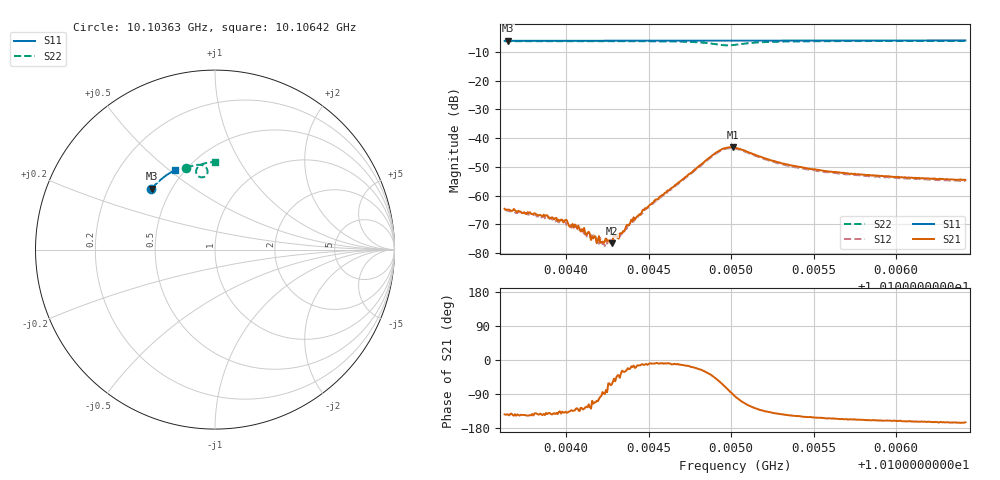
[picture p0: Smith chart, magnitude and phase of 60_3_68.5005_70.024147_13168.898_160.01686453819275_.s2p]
#  HZ  S  RI  R  50.00
! Rohde & Schwarz Vector Network Analyzer
! Rohde-Schwarz,ZNB20-2Port,1311601062101988,3.16
! Created: UTC 3/20/2024, 4:51:13 PM
! freq[Hz]  re:S11  im:S11  re:S21  im:S21  re:S12  im:S12  re:S22  im:S22
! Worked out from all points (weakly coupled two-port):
!   401 points, 10.10363 GHz to 10.10642 GHz, reference 50 ohm
!   highest |S21| = -43.18 dB at 10.10501 GHz (marker M1); lowest = -76.6 dB at 10.10428 GHz (marker M2)
!   lowest |S11| = -6.2 dB at 10.10365 GHz (marker M3), VSWR 2.92, Z = 19.5 + j17.5 ohm
!   |S11| at or under -10 dB: nowhere
!   |S22| runs from -7.8 to -6.2 dB; largest |S21 - S12| = 0.00067
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1.0103626e10  -0.3539 0.3393  -0.000476 -0.000353  -0.000438 -0.000359  -0.1593 0.4555
1.0103647e10  -0.353 0.3402  -0.000465 -0.000337  -0.000421 -0.000346  -0.158 0.456
1.0103871e10  -0.3438 0.3503  -0.000363 -0.000252  -0.000294 -0.000275  -0.1432 0.4614
1.0103976e10  -0.3394 0.3552  -0.000275 -0.000263  -0.000257 -0.000246  -0.1359 0.4637
1.0104094e10  -0.3345 0.3603  -0.000157 -0.00021  -0.000145 -0.000192  -0.1275 0.4662
1.0104108e10  -0.3338 0.3609  -0.000173 -0.000214  -0.000123 -0.000181  -0.1263 0.4665
1.0104164e10  -0.3314 0.3635  -7.69e-05 -0.000164  -3.67e-05 -0.000203  -0.1223 0.4677
1.0104213e10  -0.3292 0.3654  -1.22e-05 -0.000156  -1.64e-05 -0.000151  -0.1185 0.4686
1.0104234e10  -0.3284 0.3663  1.2e-06 -0.000165  3.44e-05 -0.000128  -0.1168 0.4689
1.0104276e10  -0.3266 0.368  6.28e-05 -0.000135  0.0001 -0.000151  -0.1133 0.4696
1.0104297e10  -0.3257 0.3689  0.000112 -0.000167  0.000138 -0.000135  -0.1117 0.4701
1.0104325e10  -0.3243 0.3701  0.00015 -0.00016  0.000167 -9.28e-05  -0.1094 0.4706
1.0104402e10  -0.321 0.3733  0.000342 -0.000114  0.000338 -8.93e-05  -0.1027 0.4716
1.0104562e10  -0.3137 0.3799  0.000917 -0.000159  0.00088 -6.19e-05  -0.0864 0.4725
1.0104904e10  -0.2978 0.3933  0.00366 -0.00409  0.00387 -0.0036  -0.0422 0.427
1.0104953e10  -0.2955 0.3951  0.00262 -0.00605  0.00302 -0.00557  -0.0556 0.4076
1.0105009e10  -0.293 0.3968  -1.19e-05 -0.00693  0.000554 -0.00662  -0.0839 0.4042
1.0105023e10  -0.2925 0.3976  -0.000676 -0.00678  -0.0001 -0.00658  -0.0901 0.4071
1.0105275e10  -0.2806 0.4071  -0.00303 -0.00243  -0.00268 -0.00254  -0.0913 0.4641
1.0105491e10  -0.2701 0.415  -0.00253 -0.0014  -0.00231 -0.00154  -0.07 0.4767
1.0105959e10  -0.2464 0.4307  -0.00204 -0.000748  -0.00188 -0.000878  -0.0332 0.4854
1.010642e10  -0.2224 0.4449  -0.0018 -0.000503  -0.00169 -0.000611  -0.00086 0.4886
